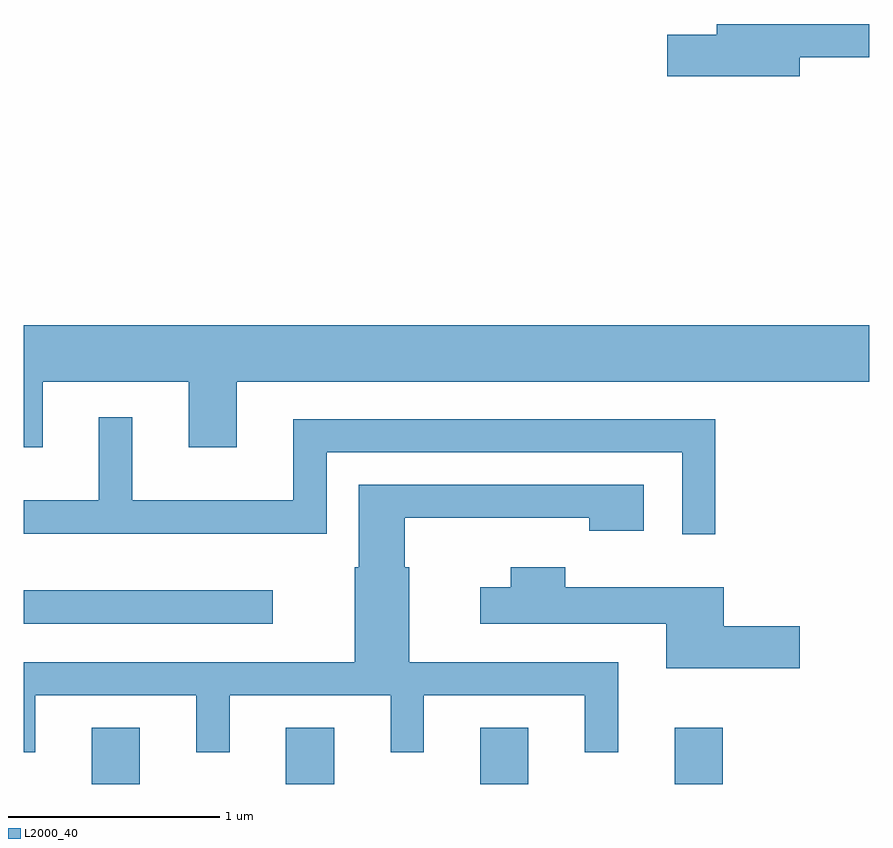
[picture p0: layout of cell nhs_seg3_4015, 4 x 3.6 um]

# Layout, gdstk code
import gdstk
lib = gdstk.Library(unit=1e-6, precision=1e-09)
def R(c, l, rs):  # rectangles x0, y0, x1, y1
    for r in rs: c.add(gdstk.rectangle(r[:2], r[2:], *l))
def A(c, l, x, y, w, h, nx, ny, dx, dy):  # array of equal rectangles
    R(c, l, [(x+i*dx, y+j*dy, x+i*dx+w, y+j*dy+h) for i in range(nx) for j in range(ny)])
def P(c, l, *ps):  # polygons
    for p in ps: c.add(gdstk.Polygon(p, *l))
L2000_40 = (2000, 40)

nhs_seg3_4015 = lib.new_cell('nhs_seg3_4015')
A(nhs_seg3_4015, L2000_40, 303.931, 1121.892, 0.228, 0.267, 4, 1, 0.92, 0)
R(nhs_seg3_4015, L2000_40, [(303.611,1122.651,304.788,1122.809)])
P(nhs_seg3_4015, L2000_40, [(307.284,1125.331),(307.611,1125.331),(307.611,1125.489),(306.891,1125.489),(306.891,1125.439),(306.656,1125.439),(306.656,1125.241),(307.284,1125.241)],
  [(303.699,1123.796),(304.391,1123.796),(304.391,1123.486),(304.619,1123.486),(304.619,1123.796),(307.611,1123.796),(307.611,1124.064),(303.611,1124.064),(303.611,1123.486),(303.699,1123.486)],
  [(306.884,1123.619),(304.886,1123.619),(304.886,1123.234),(304.124,1123.234),(304.124,1123.628),(303.966,1123.628),(303.966,1123.234),(303.611,1123.234),(303.611,1123.076),(305.044,1123.076),(305.044,1123.461),(306.726,1123.461),(306.726,1123.073),(306.884,1123.073)],
  [(303.664,1122.311),(304.426,1122.311),(304.426,1122.043),(304.584,1122.043),(304.584,1122.311),(305.346,1122.311),(305.346,1122.043),(305.504,1122.043),(305.504,1122.311),(306.266,1122.311),(306.266,1122.043),(306.424,1122.043),(306.424,1122.469),(305.434,1122.469),(305.434,1122.919),(305.414,1122.919),(305.414,1123.151),(306.286,1123.151),(306.286,1123.091),(306.544,1123.091),(306.544,1123.309),(305.196,1123.309),(305.196,1122.919),(305.176,1122.919),(305.176,1122.469),(303.611,1122.469),(303.611,1122.043),(303.664,1122.043)],
  [(307.284,1122.639),(306.924,1122.639),(306.924,1122.824),(306.174,1122.824),(306.174,1122.919),(305.916,1122.919),(305.916,1122.824),(305.771,1122.824),(305.771,1122.651),(306.651,1122.651),(306.651,1122.441),(307.284,1122.441)])

lib.write_gds('nhs_seg3_4015.gds')
